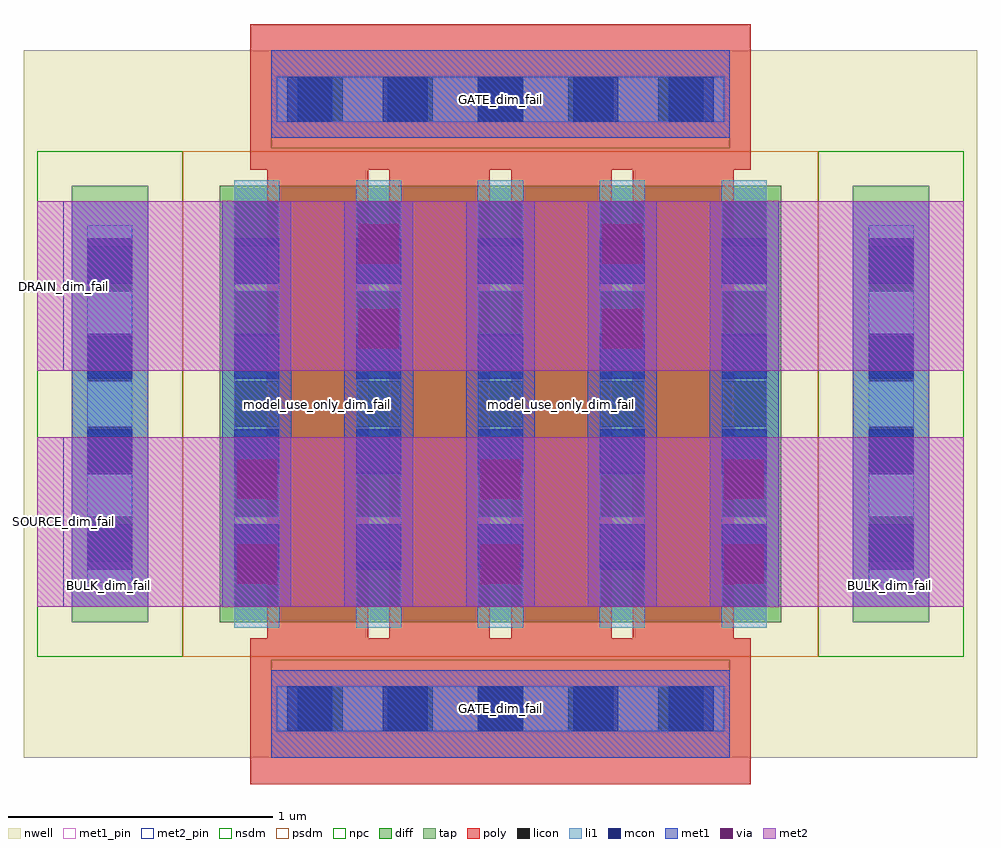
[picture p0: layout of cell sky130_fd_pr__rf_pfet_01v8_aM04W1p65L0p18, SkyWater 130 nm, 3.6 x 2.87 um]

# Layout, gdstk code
import gdstk
lib = gdstk.Library(unit=1e-6, precision=1e-09)
def R(c, l, rs):  # rectangles x0, y0, x1, y1
    for r in rs: c.add(gdstk.rectangle(r[:2], r[2:], *l))
def A(c, l, x, y, w, h, nx, ny, dx, dy):  # array of equal rectangles
    R(c, l, [(x+i*dx, y+j*dy, x+i*dx+w, y+j*dy+h) for i in range(nx) for j in range(ny)])
def P(c, l, *ps):  # polygons
    for p in ps: c.add(gdstk.Polygon(p, *l))
nwell = (64, 20)
diff = (65, 20)
tap = (65, 44)
poly = (66, 20)
licon = (66, 44)
li1 = (67, 20)
mcon = (67, 44)
met1_pin = (68, 16)
met1 = (68, 20)
via = (68, 44)
met2_pin = (69, 16)
met2 = (69, 20)
nsdm = (93, 44)
psdm = (94, 20)
npc = (95, 20)

sky130_fd_pr__rf_pfet_01 = lib.new_cell('sky130_fd_pr__rf_pfet_01v8_aM04W1p65L0p18')
R(sky130_fd_pr__rf_pfet_01, nwell, [(0,0,3.6,2.67)])
R(sky130_fd_pr__rf_pfet_01, diff, [(0.74,0.51,2.86,2.16)])
R(sky130_fd_pr__rf_pfet_01, tap, [(0.18,0.51,0.47,2.16), (3.13,0.51,3.42,2.16)])
P(sky130_fd_pr__rf_pfet_01, poly, [(0.855,-0.1),(0.855,0.45),(0.92,0.45),(0.92,2.22),(1.3,2.22),(1.3,0.45),(1.38,0.45),(1.38,2.22),(1.76,2.22),(1.76,0.45),(1.84,0.45),(1.84,2.22),(2.22,2.22),(2.22,0.45),(2.3,0.45),(2.3,2.22),(0.855,2.22),(0.855,2.77),(2.745,2.77),(2.745,2.22),(2.68,2.22),(2.68,0.45),(2.745,0.45),(2.745,-0.1)])
A(sky130_fd_pr__rf_pfet_01, licon, 1.035, 0.1, 0.17, 0.17, 5, 2, 0.34, 2.3)
A(sky130_fd_pr__rf_pfet_01, licon, 0.795, 0.57, 0.17, 0.17, 3, 1, 0.46, 0)
A(sky130_fd_pr__rf_pfet_01, licon, 1.715, 0.57, 0.17, 0.17, 3, 1, 0.46, 0)
A(sky130_fd_pr__rf_pfet_01, licon, 0.24, 0.74, 0.17, 0.17, 1, 4, 0, 0.34)
A(sky130_fd_pr__rf_pfet_01, licon, 3.19, 0.74, 0.17, 0.17, 1, 4, 0, 0.34)
A(sky130_fd_pr__rf_pfet_01, licon, 0.795, 0.91, 0.17, 0.17, 5, 4, 0.46, 0.34)
R(sky130_fd_pr__rf_pfet_01, licon, [(0.795,0.57,0.965,0.74), (2.635,0.57,2.805,0.74)])
A(sky130_fd_pr__rf_pfet_01, li1, 0.795, 0.49, 0.17, 1.69, 5, 1, 0.46, 0)
R(sky130_fd_pr__rf_pfet_01, li1, [(0.955,0.1,2.645,0.27), (0.995,0.1,2.605,0.27), (0.24,0.66,0.41,2.01), (3.19,0.66,3.36,2.01), (0.955,2.4,2.645,2.57), (0.995,2.4,2.605,2.57)])
A(sky130_fd_pr__rf_pfet_01, mcon, 0.995, 0.1, 0.17, 0.17, 5, 2, 0.36, 2.3)
A(sky130_fd_pr__rf_pfet_01, mcon, 0.24, 0.71, 0.17, 0.17, 1, 4, 0, 0.36)
A(sky130_fd_pr__rf_pfet_01, mcon, 0.795, 0.71, 0.17, 0.17, 5, 4, 0.46, 0.36)
A(sky130_fd_pr__rf_pfet_01, mcon, 3.19, 0.71, 0.17, 0.17, 1, 4, 0, 0.36)
R(sky130_fd_pr__rf_pfet_01, met1_pin, [(0.935,0,2.665,0.33), (0.18,0.57,0.47,0.65), (3.13,0.57,3.42,0.65), (0.935,2.34,2.665,2.67)])
A(sky130_fd_pr__rf_pfet_01, met1, 0.75, 0.57, 0.26, 1.53, 5, 1, 0.46, 0)
R(sky130_fd_pr__rf_pfet_01, met1, [(0.935,0,2.665,0.33), (0.18,0.57,0.47,2.1), (3.13,0.57,3.42,2.1), (0.935,2.34,2.665,2.67)])
A(sky130_fd_pr__rf_pfet_01, via, 0.805, 0.655, 0.15, 0.15, 3, 2, 0.92, 0.32)
R(sky130_fd_pr__rf_pfet_01, via, [(1.265,1.545,1.415,1.695), (2.185,1.545,2.335,1.695), (1.265,1.865,1.415,2.015), (2.185,1.865,2.335,2.015)])
R(sky130_fd_pr__rf_pfet_01, met2_pin, [(0.05,0.57,0.15,1.21), (0.05,1.46,0.15,2.1)])
R(sky130_fd_pr__rf_pfet_01, met2, [(0.05,0.57,3.55,1.21), (0.05,1.46,3.55,2.1)])
R(sky130_fd_pr__rf_pfet_01, nsdm, [(0.05,0.38,0.6,2.29), (3,0.38,3.55,2.29)])
R(sky130_fd_pr__rf_pfet_01, psdm, [(0.6,0.38,3,2.29)])
R(sky130_fd_pr__rf_pfet_01, npc, [(0.935,0,2.665,0.37), (0.935,2.3,2.665,2.67)])
sky130_fd_pr__rf_pfet_01.add(gdstk.Label('model_use_only_dim_fail', (1.11,1.335), layer=66, texttype=83))
sky130_fd_pr__rf_pfet_01.add(gdstk.Label('model_use_only_dim_fail', (1.57,1.335), layer=66, texttype=83))
sky130_fd_pr__rf_pfet_01.add(gdstk.Label('model_use_only_dim_fail', (2.03,1.335), layer=66, texttype=83))
sky130_fd_pr__rf_pfet_01.add(gdstk.Label('model_use_only_dim_fail', (2.49,1.335), layer=66, texttype=83))
sky130_fd_pr__rf_pfet_01.add(gdstk.Label('SOURCE_dim_fail', (0.15,0.89), layer=69, texttype=5))
sky130_fd_pr__rf_pfet_01.add(gdstk.Label('DRAIN_dim_fail', (0.15,1.78), layer=69, texttype=5))
sky130_fd_pr__rf_pfet_01.add(gdstk.Label('BULK_dim_fail', (0.32,0.65), layer=68, texttype=5))
sky130_fd_pr__rf_pfet_01.add(gdstk.Label('BULK_dim_fail', (3.27,0.65), layer=68, texttype=5))
sky130_fd_pr__rf_pfet_01.add(gdstk.Label('GATE_dim_fail', (1.8,2.485), layer=68, texttype=5))
sky130_fd_pr__rf_pfet_01.add(gdstk.Label('GATE_dim_fail', (1.8,0.185), layer=68, texttype=5))

lib.write_gds('sky130_fd_pr__rf_pfet_01v8_aM04W1p65L0p18.gds')
